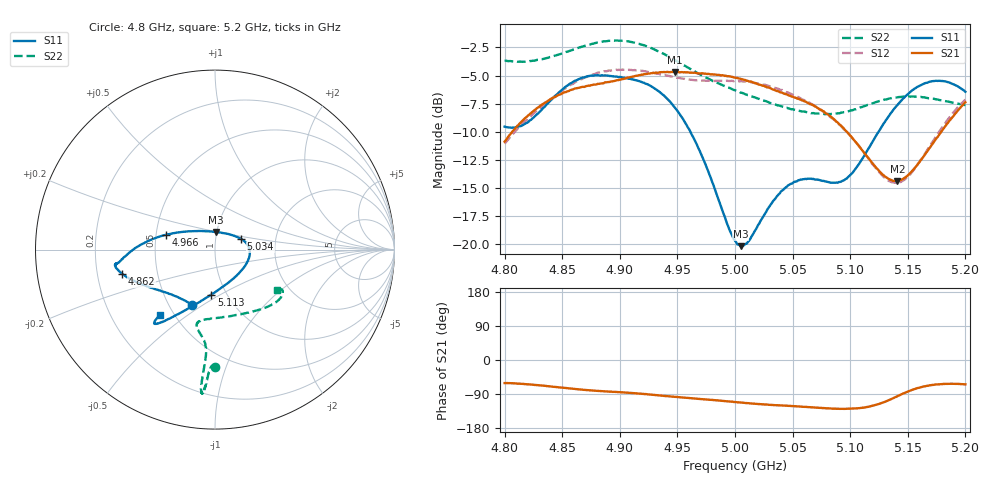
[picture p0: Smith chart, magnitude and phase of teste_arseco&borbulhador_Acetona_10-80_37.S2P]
! Network Analyzer HP8722D
! Hewlett-Packard
! Data name: Linha & Wilkinson
! Saver's name: Rodrigo Anjos
! Comments: Teste da utilização de aquisição
! continua pelo VNA HP8722D
! Time and date: 17/4/2025 14:40
!  Frequency  S11  S21  S12  S22
# HZ  S  MA R 50
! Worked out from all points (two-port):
!   401 points, 4.8 GHz to 5.2 GHz, reference 50 ohm
!   highest |S21| = -4.67 dB at 4.948 GHz (marker M1); lowest = -14.4 dB at 5.141 GHz (marker M2)
!   |S21| within 3 dB of the highest: 4.831 GHz to 5.068 GHz (237.1 MHz wide, 4.79 % of centre); 5.197356 GHz to end of sweep
!   lowest |S11| = -20.2 dB at 5.005 GHz (marker M3), VSWR 1.22, Z = 49.8 + j9.82 ohm
!   |S11| at or under -10 dB: 4.961 GHz to 5.125 GHz (163.4 MHz wide, 3.24 % of centre)
!   |S22| runs from -8.4 to -1.9 dB; largest |S21 - S12| = 0.88
!   S11 on the Smith chart (normalised r, x): 4.8 GHz: 0.65, -0.45; 4.862 GHz: 0.31, -0.12; 4.966 GHz: 0.57, +0.10; 5.034 GHz: 1.33, +0.16; 5.113 GHz: 0.85, -0.45; 5.2 GHz: 0.42, -0.39
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4.8e9  0.3333 -113.1  0.2858 -60.9  0.2798 -174.9  0.6554 -89.9
4.819e9  0.3462 -133.0  0.3673 -63.9  0.3559 -173.4  0.6497 -91.5
4.862e9  0.5349 -165.4  0.4931 -76.7  0.5281 -176.6  0.7407 -93.9
4.867e9  0.5482 -167.4  0.4996 -78.3  0.5421 -177.5  0.7553 -93.9
4.9e9  0.5542 -171.9  0.5393 -84.9  0.5953 175.9  0.8033 -95.2
4.934e9  0.4779 -178.0  0.5797 -93.3  0.5725 171.9  0.7183 -95.6
4.948e9  0.4038 175.3  0.5838 -97.4  0.5532 172.1  0.6576 -95.3
4.966e9  0.283 162.9  0.5772 -101.9  0.5361 173.9  0.5823 -94.9
5e9  0.1037 102.9  0.5505 -111.0  0.534 176.3  0.4836 -99.1
5.005e9  0.09795 85.7  0.5431 -112.4  0.53 176.2  0.4716 -100.3
5.012e9  0.1033 62.8  0.5296 -114.0  0.5265 176.1  0.4594 -101.7
5.034e9  0.1573 21.8  0.4854 -119.0  0.4965 175.0  0.4194 -103.5
5.05e9  0.1866 5.5  0.4527 -121.7  0.4625 174.3  0.3982 -99.7
5.067e9  0.1949 -12.6  0.4163 -124.7  0.4182 173.8  0.3823 -91.0
5.093e9  0.191 -56.7  0.3323 -128.8  0.3314 174.0  0.3846 -70.9
5.113e9  0.2516 -94.6  0.2521 -124.8  0.2514 179.7  0.4121 -55.0
5.134e9  0.3739 -115.9  0.1943 -105.2  0.1905 -158.2  0.4442 -43.0
5.141e9  0.4161 -119.9  0.1908 -95.4  0.1874 -147.2  0.4501 -39.8
5.152e9  0.474 -124.4  0.2071 -80.9  0.2039 -130.2  0.4531 -36.0
5.17e9  0.5287 -128.5  0.272 -66.5  0.2776 -112.6  0.4453 -31.8
5.184e9  0.5267 -129.9  0.3429 -63.0  0.3547 -107.2  0.4316 -30.9
5.2e9  0.4761 -130.3  0.4275 -64.2  0.4397 -106.2  0.4151 -33.3
